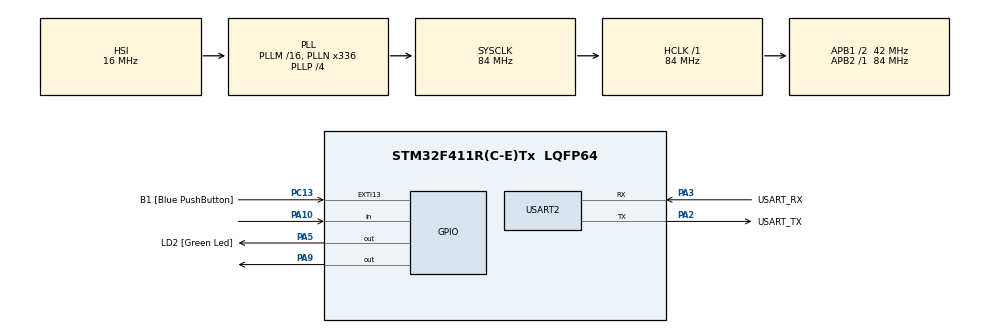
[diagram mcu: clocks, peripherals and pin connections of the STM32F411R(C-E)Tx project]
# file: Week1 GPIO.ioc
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Mcu.Family=STM32F4
Mcu.Name=STM32F411R(C-E)Tx
Mcu.Package=LQFP64
NVIC.PriorityGroup=NVIC_PRIORITYGROUP_0
PA10.Signal=GPIO_Input
PA13.GPIO_Label=TMS
PA13.Mode=Serial_Wire
PA13.Signal=SYS_JTMS-SWDIO
PA14.GPIO_Label=TCK
PA14.Mode=Serial_Wire
PA14.Signal=SYS_JTCK-SWCLK
PA2.GPIO_Label=USART_TX
PA2.Mode=Asynchronous
PA2.Signal=USART2_TX
PA3.GPIO_Label=USART_RX
PA3.Mode=Asynchronous
PA3.Signal=USART2_RX
PA5.GPIO_Label=LD2 [Green Led]
PA5.Signal=GPIO_Output
PA9.Signal=GPIO_Output
PB3.GPIO_Label=SWO
PB3.Signal=SYS_JTDO-SWO
PC13-ANTI_TAMP.GPIO_Label=B1 [Blue PushButton]
PC13-ANTI_TAMP.GPIO_ModeDefaultEXTI=GPIO_MODE_IT_FALLING
PC13-ANTI_TAMP.Signal=GPXTI13
PC14-OSC32_IN.Mode=LSE-External-Oscillator
PC14-OSC32_IN.Signal=RCC_OSC32_IN
PC15-OSC32_OUT.Mode=LSE-External-Oscillator
PC15-OSC32_OUT.Signal=RCC_OSC32_OUT
PH0\ -\ OSC_IN.Mode=HSE-External-Clock-Source
PH0\ -\ OSC_IN.Signal=RCC_OSC_IN
PH1\ -\ OSC_OUT.Mode=HSE-External-Clock-Source
PH1\ -\ OSC_OUT.Signal=RCC_OSC_OUT
ProjectManager.HeapSize=0x200
ProjectManager.StackSize=0x400
ProjectManager.TargetToolchain=STM32CubeIDE
RCC.48MHZClocksFreq_Value=84000000
RCC.AHBFreq_Value=84000000
RCC.APB1CLKDivider=RCC_HCLK_DIV2
RCC.APB1Freq_Value=42000000
RCC.APB1TimFreq_Value=84000000
RCC.APB2Freq_Value=84000000
RCC.APB2TimFreq_Value=84000000
RCC.CortexFreq_Value=84000000
RCC.FLatency-AdvancedSettings=FLASH_LATENCY_2
RCC.HCLKFreq_Value=84000000
RCC.HSE_VALUE=8000000
RCC.HSI_VALUE=16000000
RCC.PLLN=336
RCC.PLLP=RCC_PLLP_DIV4
RCC.SYSCLKFreq_VALUE=84000000
RCC.SYSCLKSource=RCC_SYSCLKSOURCE_PLLCLK
RCC.VCOOutputFreq_Value=336000000
USART2.VirtualMode=VM_ASYNC
board=NUCLEO-F411RE

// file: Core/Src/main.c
/* USER CODE BEGIN Header */
/**
  ******************************************************************************
  * @file           : main.c
  * @brief          : Main program body
  ******************************************************************************
  * @attention
  *
  * <h2><center>&copy; Copyright (c) 2021 STMicroelectronics.
  * All rights reserved.</center></h2>
  *
  * This software component is licensed by ST under BSD 3-Clause license,
  * the "License"; You may not use this file except in compliance with the
  * License. You may obtain a copy of the License at:
  *                        opensource.org/licenses/BSD-3-Clause
  *
  ******************************************************************************
  */
/* USER CODE END Header */
#include "main.h"

UART_HandleTypeDef huart2;

void SystemClock_Config(void);
static void MX_GPIO_Init(void);
static void MX_USART2_UART_Init(void);

int main(void)
{

  /* MCU Configuration--------------------------------------------------------*/

  /* Reset of all peripherals, Initializes the Flash interface and the Systick. */
  HAL_Init();

  /* Configure the system clock */
  SystemClock_Config();

  /* Initialize all configured peripherals */
  MX_GPIO_Init();
  MX_USART2_UART_Init();
  /* USER CODE BEGIN 2 */
  GPIO_PinState SwitchState[2]; //now,last
  uint16_t LED1_HalfPeriod = 500; // 1Hz
  uint32_t TimeStamp = 0;
  uint32_t ButtonTimeStamp = 0;
  /* USER CODE END 2 */

  /* Infinite loop */
  while (1)
  {

    /* USER CODE BEGIN 3 */
	  if(HAL_GetTick()-ButtonTimeStamp>=100)//ms
	  {
		  ButtonTimeStamp = HAL_GetTick();
		  //switch press is low
		  SwitchState[0]= HAL_GPIO_ReadPin(GPIOA, GPIO_PIN_10);
		  if(SwitchState[1]==GPIO_PIN_SET
				  && SwitchState[0]==GPIO_PIN_RESET)
		  {
			  //change half period of LED 1
			  if(LED1_HalfPeriod==500)
			  {
				  LED1_HalfPeriod=250;
			  }
			  else
			  {
				  LED1_HalfPeriod = 500;
			  }
		  }
		  SwitchState[1]=SwitchState[0];
	  }

	  //run LED
	  if (HAL_GetTick()-TimeStamp >= LED1_HalfPeriod)
	  {
		  TimeStamp = HAL_GetTick();
		  if(HAL_GPIO_ReadPin(GPIOA, GPIO_PIN_9)==GPIO_PIN_SET)
		  {
			  HAL_GPIO_WritePin(GPIOA, GPIO_PIN_9, GPIO_PIN_RESET);
		  }
		  else
		  {
			  HAL_GPIO_WritePin(GPIOA, GPIO_PIN_9, GPIO_PIN_SET);
		  }
	  }
  }
  /* USER CODE END 3 */
}

void SystemClock_Config(void)
{
  RCC_OscInitTypeDef RCC_OscInitStruct = {0};
  RCC_ClkInitTypeDef RCC_ClkInitStruct = {0};

  /** Configure the main internal regulator output voltage
  */
  __HAL_RCC_PWR_CLK_ENABLE();
  __HAL_PWR_VOLTAGESCALING_CONFIG(PWR_REGULATOR_VOLTAGE_SCALE1);
  /** Initializes the RCC Oscillators according to the specified parameters
  * in the RCC_OscInitTypeDef structure.
  */
  RCC_OscInitStruct.OscillatorType = RCC_OSCILLATORTYPE_HSI;
  RCC_OscInitStruct.HSIState = RCC_HSI_ON;
  RCC_OscInitStruct.HSICalibrationValue = RCC_HSICALIBRATION_DEFAULT;
  RCC_OscInitStruct.PLL.PLLState = RCC_PLL_ON;
  RCC_OscInitStruct.PLL.PLLSource = RCC_PLLSOURCE_HSI;
  RCC_OscInitStruct.PLL.PLLM = 16;
  RCC_OscInitStruct.PLL.PLLN = 336;
  RCC_OscInitStruct.PLL.PLLP = RCC_PLLP_DIV4;
  RCC_OscInitStruct.PLL.PLLQ = 4;
  if (HAL_RCC_OscConfig(&RCC_OscInitStruct) != HAL_OK)
  {
    Error_Handler();
  }
  /** Initializes the CPU, AHB and APB buses clocks
  */
  RCC_ClkInitStruct.ClockType = RCC_CLOCKTYPE_HCLK|RCC_CLOCKTYPE_SYSCLK
                              |RCC_CLOCKTYPE_PCLK1|RCC_CLOCKTYPE_PCLK2;
  RCC_ClkInitStruct.SYSCLKSource = RCC_SYSCLKSOURCE_PLLCLK;
  RCC_ClkInitStruct.AHBCLKDivider = RCC_SYSCLK_DIV1;
  RCC_ClkInitStruct.APB1CLKDivider = RCC_HCLK_DIV2;
  RCC_ClkInitStruct.APB2CLKDivider = RCC_HCLK_DIV1;

  if (HAL_RCC_ClockConfig(&RCC_ClkInitStruct, FLASH_LATENCY_2) != HAL_OK)
  {
    Error_Handler();
  }
}

static void MX_USART2_UART_Init(void)
{

  huart2.Instance = USART2;
  huart2.Init.BaudRate = 115200;
  huart2.Init.WordLength = UART_WORDLENGTH_8B;
  huart2.Init.StopBits = UART_STOPBITS_1;
  huart2.Init.Parity = UART_PARITY_NONE;
  huart2.Init.Mode = UART_MODE_TX_RX;
  huart2.Init.HwFlowCtl = UART_HWCONTROL_NONE;
  huart2.Init.OverSampling = UART_OVERSAMPLING_16;
  if (HAL_UART_Init(&huart2) != HAL_OK)
  {
    Error_Handler();
  }

}

static void MX_GPIO_Init(void)
{
  GPIO_InitTypeDef GPIO_InitStruct = {0};

  /* GPIO Ports Clock Enable */
  __HAL_RCC_GPIOC_CLK_ENABLE();
  __HAL_RCC_GPIOH_CLK_ENABLE();
  __HAL_RCC_GPIOA_CLK_ENABLE();
  __HAL_RCC_GPIOB_CLK_ENABLE();

  /*Configure GPIO pin Output Level */
  HAL_GPIO_WritePin(GPIOA, LD2_Pin|GPIO_PIN_9, GPIO_PIN_RESET);

  /*Configure GPIO pin : B1_Pin */
  GPIO_InitStruct.Pin = B1_Pin;
  GPIO_InitStruct.Mode = GPIO_MODE_IT_FALLING;
  GPIO_InitStruct.Pull = GPIO_NOPULL;
  HAL_GPIO_Init(B1_GPIO_Port, &GPIO_InitStruct);

  /*Configure GPIO pins : LD2_Pin PA9 */
  GPIO_InitStruct.Pin = LD2_Pin|GPIO_PIN_9;
  GPIO_InitStruct.Mode = GPIO_MODE_OUTPUT_PP;
  GPIO_InitStruct.Pull = GPIO_NOPULL;
  GPIO_InitStruct.Speed = GPIO_SPEED_FREQ_LOW;
  HAL_GPIO_Init(GPIOA, &GPIO_InitStruct);

  /*Configure GPIO pin : PA10 */
  GPIO_InitStruct.Pin = GPIO_PIN_10;
  GPIO_InitStruct.Mode = GPIO_MODE_INPUT;
  GPIO_InitStruct.Pull = GPIO_NOPULL;
  HAL_GPIO_Init(GPIOA, &GPIO_InitStruct);

}

void Error_Handler(void)
{
  __disable_irq();
  while (1)
  {
  }
}

/************************ (C) COPYRIGHT STMicroelectronics *****END OF FILE****/
